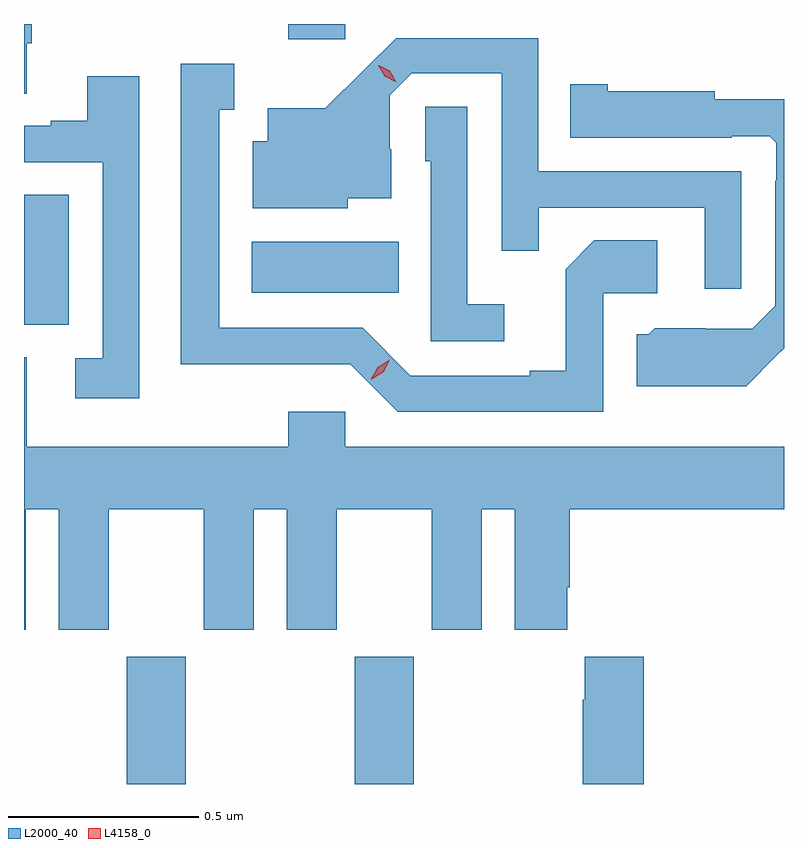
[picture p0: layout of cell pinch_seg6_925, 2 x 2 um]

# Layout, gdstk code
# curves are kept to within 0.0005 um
import gdstk
lib = gdstk.Library(unit=1e-6, precision=1e-09)
def R(c, l, rs):  # rectangles x0, y0, x1, y1
    for r in rs: c.add(gdstk.rectangle(r[:2], r[2:], *l))
def P(c, l, *ps):  # polygons
    for p in ps: c.add(gdstk.Polygon(p, *l))
L2000_40 = (2000, 40)
L4158_0 = (4158, 0)

pinch_seg6_925 = lib.new_cell('pinch_seg6_925')
R(pinch_seg6_925, L2000_40, [(135.709,917.309,135.864,917.644), (136.309,917.309,136.464,917.644), (135.438,918.517,135.556,918.86), (136.037,918.602,136.424,918.736), (136.133,919.269,136.284,919.309)])
P(pinch_seg6_925, L2000_40, [(135.445,919.258),(135.458,919.258),(135.458,919.309),(135.438,919.309),(135.438,919.126),(135.445,919.126)],
  [(137.325,918.921),(136.791,918.921),(136.791,919.272),(136.418,919.272),(136.231,919.087),(136.079,919.087),(136.079,919),(136.04,919),(136.04,918.824),(136.29,918.824),(136.29,918.851),(136.405,918.851),(136.405,918.98),(136.401,918.98),(136.401,919.122),(136.458,919.179),(136.695,919.179),(136.695,918.712),(136.793,918.712),(136.793,918.825),(137.229,918.825),(137.229,918.612),(137.325,918.612)],
  [(136.962,918.6),(137.104,918.6),(137.104,918.74),(136.939,918.74),(136.863,918.664),(136.863,918.397),(136.769,918.397),(136.769,918.384),(136.455,918.384),(136.329,918.51),(135.952,918.51),(135.952,919.083),(135.991,919.083),(135.991,919.204),(135.851,919.204),(135.851,918.413),(136.074,918.413),(136.074,918.414),(136.296,918.414),(136.422,918.288),(136.962,918.288)],
  [(135.741,919.171),(135.605,919.171),(135.605,919.054),(135.509,919.054),(135.509,919.041),(135.438,919.041),(135.438,918.945),(135.645,918.945),(135.645,918.429),(135.573,918.429),(135.573,918.324),(135.741,918.324)],
  [(137.419,918.437),(137.438,918.456),(137.438,919.111),(137.256,919.111),(137.256,919.132),(136.974,919.132),(136.974,919.15),(136.876,919.15),(136.876,919.01),(137.3,919.01),(137.3,919.014),(137.4,919.014),(137.418,918.996),(137.418,918.896),(137.415,918.896),(137.415,918.567),(137.355,918.507),(137.232,918.507),(137.232,918.508),(137.098,918.508),(137.082,918.492),(137.051,918.492),(137.051,918.356),(137.339,918.356)],
  [(136.702,918.571),(136.605,918.571),(136.605,919.091),(136.494,919.091),(136.494,918.948),(136.509,918.948),(136.509,918.474),(136.702,918.474)],
  [(135.445,918.432),(135.438,918.432),(135.438,917.715),(135.442,917.715),(135.442,918.032),(135.53,918.032),(135.53,917.715),(135.661,917.715),(135.661,918.032),(135.911,918.032),(135.911,917.715),(136.042,917.715),(136.042,918.032),(136.13,918.032),(136.13,917.715),(136.261,917.715),(136.261,918.032),(136.511,918.032),(136.511,917.715),(136.642,917.715),(136.642,918.032),(136.73,918.032),(136.73,917.715),(136.867,917.715),(136.867,917.827),(136.874,917.827),(136.874,918.032),(137.438,918.032),(137.438,918.196),(136.284,918.196),(136.284,918.289),(136.133,918.289),(136.133,918.196),(135.445,918.196)],
  [(137.069,917.644),(136.913,917.644),(136.913,917.531),(136.909,917.531),(136.909,917.309),(137.069,917.309)])
P(pinch_seg6_925, L4158_0, [(136.418,919.156),(136.387,919.171),(136.37,919.201),(136.37,919.201),(136.371,919.201),(136.401,919.186),(136.418,919.156),(136.418,919.156)],
  [(136.351,918.373),(136.351,918.373),(136.369,918.406),(136.401,918.425),(136.401,918.425),(136.401,918.425),(136.383,918.392),(136.351,918.373)])

lib.write_gds('pinch_seg6_925.gds')
